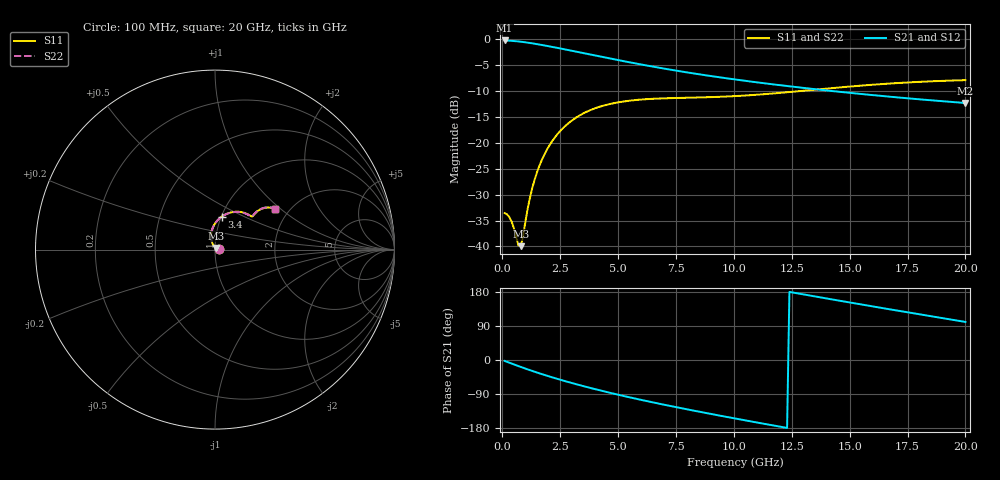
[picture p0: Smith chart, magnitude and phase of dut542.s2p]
! Touchstone file exported from HFSS 2024.1.0
!  File:  C:/UserFiles/LocalFiles/RDL_TSV_Batchsim/temp_RDL_TSV_542_1779747578.aedt
!  Generated:  06:36:24 AM May 26, 2026
!  Design:  RDL_TSV
!  Project:  temp_RDL_TSV_542_1779747578
!  Setup:  Setup1
!  Solution:  Sweep
! Variables:
!  dtsv = 13.86um
!  hbump = 3um
!  htsv = 90.43um
!  ldown = 467.22um
!  lrdl = 507.51um
!  p = 40
!  p1 = 48.67um
!  rhole = 10um
!  subl = 3431.7um
!  t = 450um
!  tdown = 4.93um
!  trdl = 3.57um
!  viad = 10um
!  wdown = 18um
!  wrdl = 12.88um
!  xbump = 18um
# GHz S MA R 50.000000
! Terminal data exported
! Port[1] = TM1_1_T1
! Port[2] = TM1_4_T1
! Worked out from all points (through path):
!   200 points, 100 MHz to 20 GHz, reference 50 ohm
!   highest |S21| = -0.19 dB at 100 MHz (marker M1); lowest = -12.3 dB at 20 GHz (marker M2)
!   group delay of S21, straight-line fit = 33.9 ps
!   lowest |S11| = -39.9 dB at 800 MHz (marker M3), VSWR 1.02, Z = 50.4 + j0.921 ohm
!   |S11| at or under -10 dB: start of sweep to 12.8 GHz
!   |S22| runs from -40.0 to -7.9 dB; largest |S21 - S12| = 9.2e-15
!   S11 on the Smith chart (normalised r, x): 100 MHz: 1.04, +0.00; 3.4 GHz: 1.00, +0.38; 20 GHz: 1.69, +0.92
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0.1  0.02098 1.6  0.9782 -2.4  0.9782 -2.4  0.02098 1.6
! Gamma 0 0 0 0
! Port Impedance 50 0 50 0
0.3  0.0193 3.9  0.9738 -7.1  0.9738 -7.1  0.01931 3.9
0.4  0.01744 6.0  0.9704 -9.4  0.9704 -9.4  0.01746 6.0
0.7  0.01021 38.0  0.9568 -16.2  0.9568 -16.2  0.01023 37.7
0.8  0.01006 65.2  0.9511 -18.4  0.9511 -18.4  0.01005 64.8
0.9  0.01273 88.8  0.9451 -20.6  0.9451 -20.6  0.01267 88.4
1.1  0.02334 108.6  0.9317 -24.9  0.9317 -24.9  0.02322 108.4
1.3  0.03702 112.4  0.9171 -29.0  0.9171 -29.0  0.03683 112.3
1.5  0.05211 111.5  0.9016 -33.1  0.9016 -33.1  0.05186 111.4
1.7  0.06789 108.8  0.8854 -37.1  0.8854 -37.1  0.06758 108.7
2  0.09189 103.4  0.8607 -42.9  0.8607 -42.9  0.09148 103.4
2.4  0.1229 95.8  0.8273 -50.2  0.8273 -50.2  0.1224 95.8
2.9  0.158 86.7  0.7861 -59.0  0.7861 -59.0  0.1573 86.6
3.4  0.1878 78.5  0.7462 -67.3  0.7462 -67.3  0.1869 78.4
3.5  0.193 76.9  0.7385 -68.9  0.7385 -68.9  0.1921 76.9
5.1  0.249 57.8  0.6258 -93.0  0.6258 -93.0  0.2477 57.8
6.8  0.269 46.7  0.5318 -115.7  0.5318 -115.7  0.2674 46.8
8.4  0.2748 42.4  0.4644 -135.2  0.4644 -135.2  0.2733 42.5
10.1  0.2839 41.7  0.4093 -154.9  0.4093 -154.9  0.2825 41.9
13.4  0.3255 42.0  0.3327 168.8  0.3327 168.8  0.3249 42.3
16.7  0.3747 38.7  0.2803 134.1  0.2803 134.1  0.3746 39.0
20  0.4045 34.1  0.2433 100.5  0.2433 100.5  0.4047 34.2
